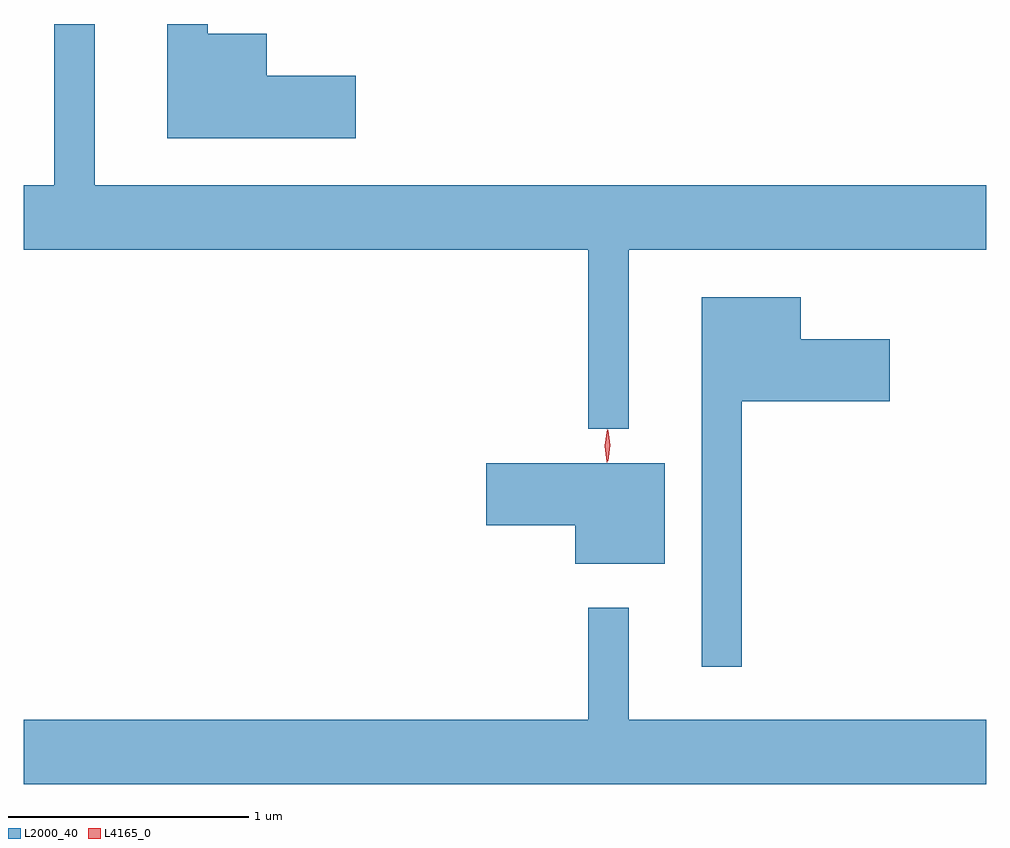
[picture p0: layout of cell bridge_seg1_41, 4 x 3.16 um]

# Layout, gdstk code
import gdstk
lib = gdstk.Library(unit=1e-6, precision=1e-09)
def P(c, l, *ps):  # polygons
    for p in ps: c.add(gdstk.Polygon(p, *l))
L2000_40 = (2000, 40)
L4165_0 = (4165, 0)

bridge_seg1_41 = lib.new_cell('bridge_seg1_41')
P(bridge_seg1_41, L2000_40, [(1565.279,857.396),(1566.764,857.396),(1566.764,857.664),(1563.059,857.664),(1563.059,858.335),(1562.891,858.335),(1562.891,857.664),(1562.764,857.664),(1562.764,857.396),(1565.111,857.396),(1565.111,856.653),(1565.279,856.653)],
  [(1564.144,858.119),(1563.774,858.119),(1563.774,858.294),(1563.529,858.294),(1563.529,858.335),(1563.361,858.335),(1563.361,857.861),(1564.144,857.861)],
  [(1565.749,856.766),(1566.364,856.766),(1566.364,857.024),(1565.994,857.024),(1565.994,857.199),(1565.581,857.199),(1565.581,855.663),(1565.749,855.663)],
  [(1565.429,856.509),(1564.686,856.509),(1564.686,856.251),(1565.056,856.251),(1565.056,856.091),(1565.429,856.091)],
  [(1566.764,855.444),(1565.279,855.444),(1565.279,855.908),(1565.111,855.908),(1565.111,855.444),(1562.764,855.444),(1562.764,855.176),(1566.764,855.176)])
P(bridge_seg1_41, L4165_0, [(1565.192,856.52),(1565.192,856.52),(1565.182,856.584),(1565.192,856.646),(1565.192,856.647),(1565.193,856.646),(1565.202,856.584),(1565.193,856.52)],
  [(1565.187,856.514),(1565.179,856.582),(1565.189,856.65),(1565.19,856.65),(1565.19,856.65),(1565.199,856.582),(1565.188,856.514),(1565.188,856.514)])

lib.write_gds('bridge_seg1_41.gds')
